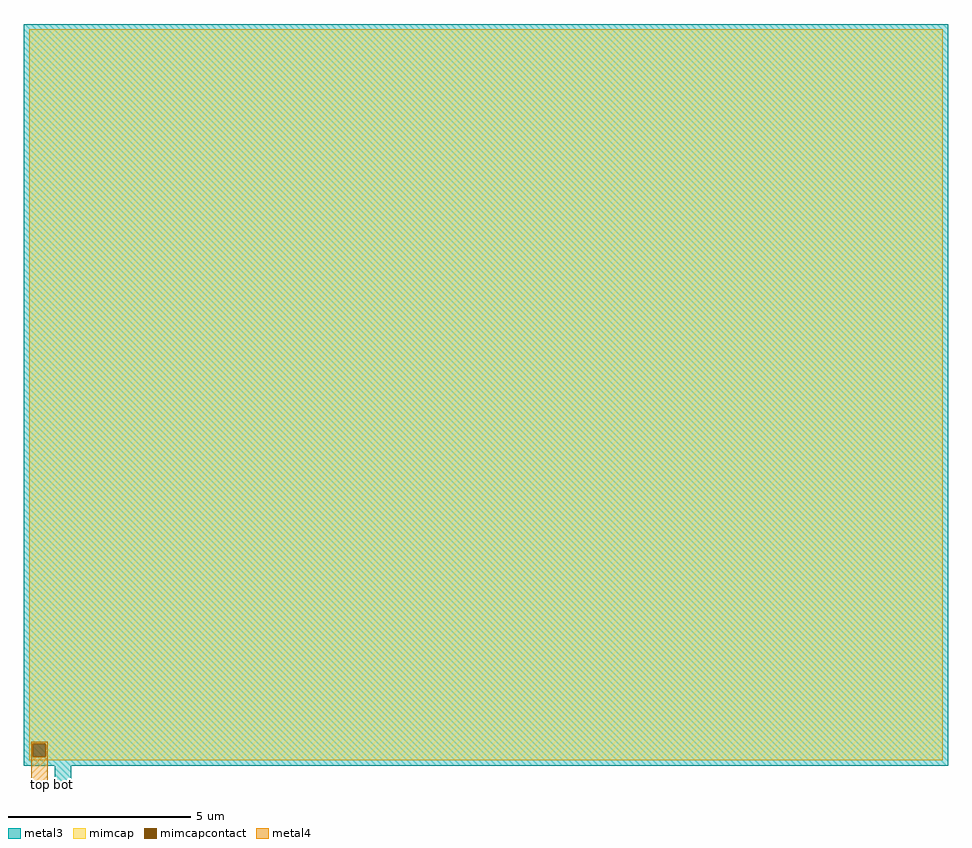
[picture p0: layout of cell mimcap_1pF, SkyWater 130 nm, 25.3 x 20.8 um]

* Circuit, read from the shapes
.subckt mimcap_1pF bot top
XC1 top bot sky130_fd_pr__cap_mim_m3_1 w=25 l=20
.ends

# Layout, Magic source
magic
tech sky130A
<< metal3 >>
rect -15 -15 2515 2015
rect 70 -65 115 -15
<< mimcap >>
rect 0 45 2500 2000
rect 0 10 10 45
rect 45 10 2500 45
rect 0 0 2500 10
<< mimcapcontact >>
rect 10 10 45 45
<< metal4 >>
rect 5 45 50 50
rect 5 10 10 45
rect 45 10 50 45
rect 5 -65 50 10
<< labels >>
flabel metal4 30 -65 30 -65 5 FreeSans 80 0 0 -40 top
flabel metal3 95 -65 95 -65 5 FreeSans 80 0 0 -40 bot
<< end >>
